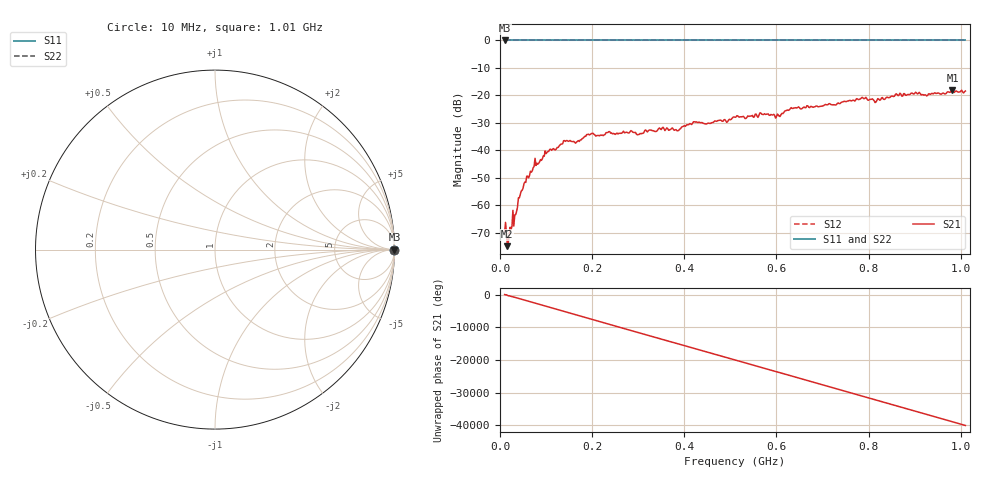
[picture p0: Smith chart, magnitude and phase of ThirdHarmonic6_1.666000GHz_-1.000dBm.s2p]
! 8/16/2025 7:58:25 PM
! C:\ANRITSUVNA\TEMP\TEMP.S2P
! CHANNEL.1
! TR.MEASUREMENT
! RAW.DATA
! RF.CORRECTION.OFF
! AVERAGING.OFF
! IF.BANDWIDTH: 5KHZ
! SWEEPTYPE:  FREQ.SWEEP(Linear)
! Reference Plane Port Info
! PORT:  PORT1  PORT2
! DISTANCE:  0  m  0  m
! TIME:  0  s  0  s
! PHASE.OFFSET:  0  deg.  0  deg.
! LOSS:  0  dB  0  dB
! REF.LOSS:  0  dB  0  dB
! REF.FREQ:  0  Hz  0  Hz
! Power Info
! POWER:  -20  dBm  -20  dBm
! EFF.POWER:  -20  dBm  -20  dBm
! SOURCE.ATTEN:  0  dB  0  dB
! TEST.ATTEN:  0  dB  0  dB
# GHZ S RI R 50.0
! FREQ.GHZ  S11RE  S11IM  S21RE  S21IM  S12RE  S12IM  S22RE  S22IM
!; PortSelection: Port_12
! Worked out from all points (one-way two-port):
!   501 points, 10 MHz to 1.01 GHz, reference 50 ohm
!   highest |S21| = -18.09 dB at 982 MHz (marker M1); lowest = -74.9 dB at 16 MHz (marker M2)
!   lowest |S11| = 0.0 dB at 10 MHz (marker M3)
!   |S11| at or under -10 dB: nowhere
!   |S22| runs from 0.0 to 0.0 dB; largest |S21 - S12| = 1.1
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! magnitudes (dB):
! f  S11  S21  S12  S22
! 10 MHz  0.0  -69.9  0.0  0.0
! 16 MHz  0.0  -74.9  0.0  0.0
! 20 MHz  0.0  -70.7  0.0  0.0
! 24 MHz  0.0  -68.9  0.0  0.0
! 34 MHz  0.0  -63.4  0.0  0.0
! 42 MHz  0.0  -57.3  0.0  0.0
! 50 MHz  0.0  -53.8  0.0  0.0
! 76 MHz  0.0  -42.9  0.0  0.0
! 142 MHz  0.0  -36.7  0.0  0.0
! 178 MHz  0.0  -35.8  0.0  0.0
! 200 MHz  0.0  -33.8  0.0  0.0
! 302 MHz  0.0  -34.2  0.0  0.0
! 344 MHz  0.0  -32.1  0.0  0.0
! 384 MHz  0.0  -32.8  0.0  0.0
! 422 MHz  0.0  -29.6  0.0  0.0
! 510 MHz  0.0  -28.0  0.0  0.0
! 602 MHz  0.0  -26.8  0.0  0.0
! 634 MHz  0.0  -24.7  0.0  0.0
! 678 MHz  0.0  -24.2  0.0  0.0
! 844 MHz  0.0  -20.8  0.0  0.0
! 982 MHz  0.0  -18.1  0.0  0.0
! 1.01 GHz  0.0  -18.4  0.0  0.0
